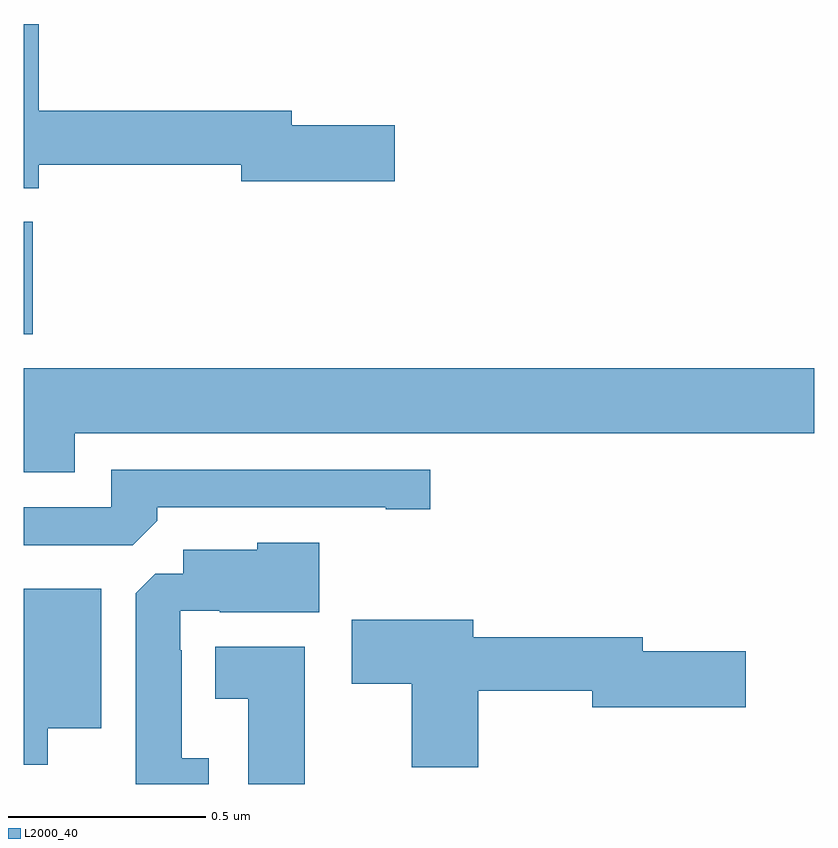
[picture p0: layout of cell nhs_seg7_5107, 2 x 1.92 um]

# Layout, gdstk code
import gdstk
lib = gdstk.Library(unit=1e-6, precision=1e-09)
def R(c, l, rs):  # rectangles x0, y0, x1, y1
    for r in rs: c.add(gdstk.rectangle(r[:2], r[2:], *l))
def P(c, l, *ps):  # polygons
    for p in ps: c.add(gdstk.Polygon(p, *l))
L2000_40 = (2000, 40)

nhs_seg7_5107 = lib.new_cell('nhs_seg7_5107')
R(nhs_seg7_5107, L2000_40, [(181,1062.138,181.022,1062.423)])
P(nhs_seg7_5107, L2000_40, [(181.037,1062.568),(181.55,1062.568),(181.55,1062.526),(181.939,1062.526),(181.939,1062.668),(181.678,1062.668),(181.678,1062.704),(181.037,1062.704),(181.037,1062.924),(181,1062.924),(181,1062.508),(181.037,1062.508)],
  [(181.129,1061.888),(183,1061.888),(183,1062.052),(181,1062.052),(181,1061.789),(181.129,1061.789)],
  [(181.337,1061.666),(181.337,1061.7),(181.916,1061.7),(181.916,1061.695),(182.029,1061.695),(182.029,1061.796),(181.221,1061.796),(181.221,1061.7),(181,1061.7),(181,1061.604),(181.275,1061.604)],
  [(181.468,1061.065),(181.399,1061.065),(181.399,1061.339),(181.395,1061.339),(181.395,1061.439),(181.495,1061.439),(181.495,1061.435),(181.747,1061.435),(181.747,1061.611),(181.59,1061.611),(181.59,1061.593),(181.403,1061.593),(181.403,1061.532),(181.332,1061.532),(181.283,1061.483),(181.283,1061),(181.468,1061)],
  [(181.06,1061.141),(181.195,1061.141),(181.195,1061.494),(181,1061.494),(181,1061.049),(181.06,1061.049)],
  [(182.15,1061.236),(182.438,1061.236),(182.438,1061.194),(182.827,1061.194),(182.827,1061.336),(182.566,1061.336),(182.566,1061.372),(182.137,1061.372),(182.137,1061.416),(181.83,1061.416),(181.83,1061.254),(181.982,1061.254),(181.982,1061.043),(182.15,1061.043)],
  [(181.711,1061.347),(181.484,1061.347),(181.484,1061.216),(181.568,1061.216),(181.568,1061),(181.711,1061)])

lib.write_gds('nhs_seg7_5107.gds')
